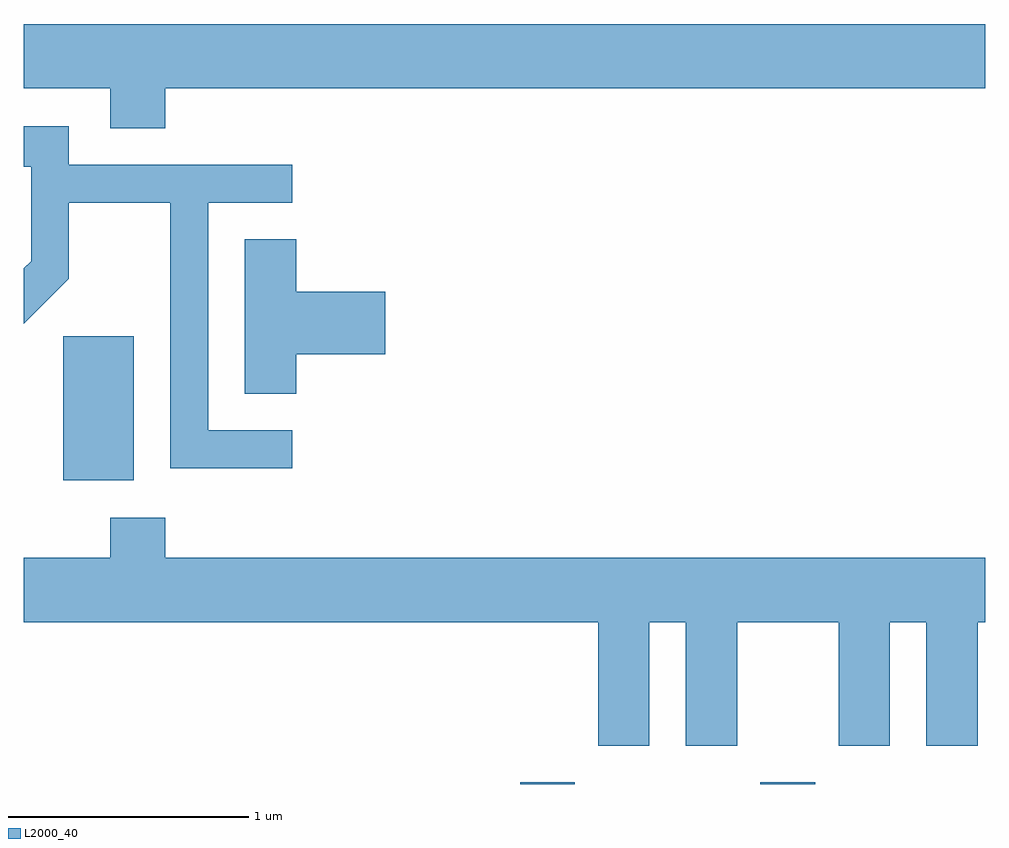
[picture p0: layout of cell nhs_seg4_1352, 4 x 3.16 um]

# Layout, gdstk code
import gdstk
lib = gdstk.Library(unit=1e-6, precision=1e-09)
def R(c, l, rs):  # rectangles x0, y0, x1, y1
    for r in rs: c.add(gdstk.rectangle(r[:2], r[2:], *l))
def P(c, l, *ps):  # polygons
    for p in ps: c.add(gdstk.Polygon(p, *l))
L2000_40 = (2000, 40)

nhs_seg4_1352 = lib.new_cell('nhs_seg4_1352')
R(nhs_seg4_1352, L2000_40, [(225.676,1373.982,225.904,1373.989), (226.676,1373.982,226.904,1373.989), (223.776,1375.246,224.069,1375.844)])
P(nhs_seg4_1352, L2000_40, [(224.199,1376.876),(227.611,1376.876),(227.611,1377.144),(223.611,1377.144),(223.611,1376.876),(223.971,1376.876),(223.971,1376.711),(224.199,1376.711)],
  [(224.728,1375.454),(224.379,1375.454),(224.379,1376.401),(224.728,1376.401),(224.728,1376.559),(223.799,1376.559),(223.799,1376.719),(223.611,1376.719),(223.611,1376.551),(223.641,1376.551),(223.641,1376.157),(223.611,1376.127),(223.611,1375.896),(223.799,1376.084),(223.799,1376.401),(224.221,1376.401),(224.221,1375.296),(224.728,1375.296)],
  [(224.744,1375.771),(225.114,1375.771),(225.114,1376.029),(224.744,1376.029),(224.744,1376.249),(224.531,1376.249),(224.531,1375.606),(224.744,1375.606)],
  [(226.214,1374.656),(226.366,1374.656),(226.366,1374.141),(226.579,1374.141),(226.579,1374.656),(227.001,1374.656),(227.001,1374.141),(227.214,1374.141),(227.214,1374.656),(227.366,1374.656),(227.366,1374.141),(227.579,1374.141),(227.579,1374.656),(227.611,1374.656),(227.611,1374.924),(224.199,1374.924),(224.199,1375.089),(223.971,1375.089),(223.971,1374.924),(223.611,1374.924),(223.611,1374.656),(226.001,1374.656),(226.001,1374.141),(226.214,1374.141)])

lib.write_gds('nhs_seg4_1352.gds')
